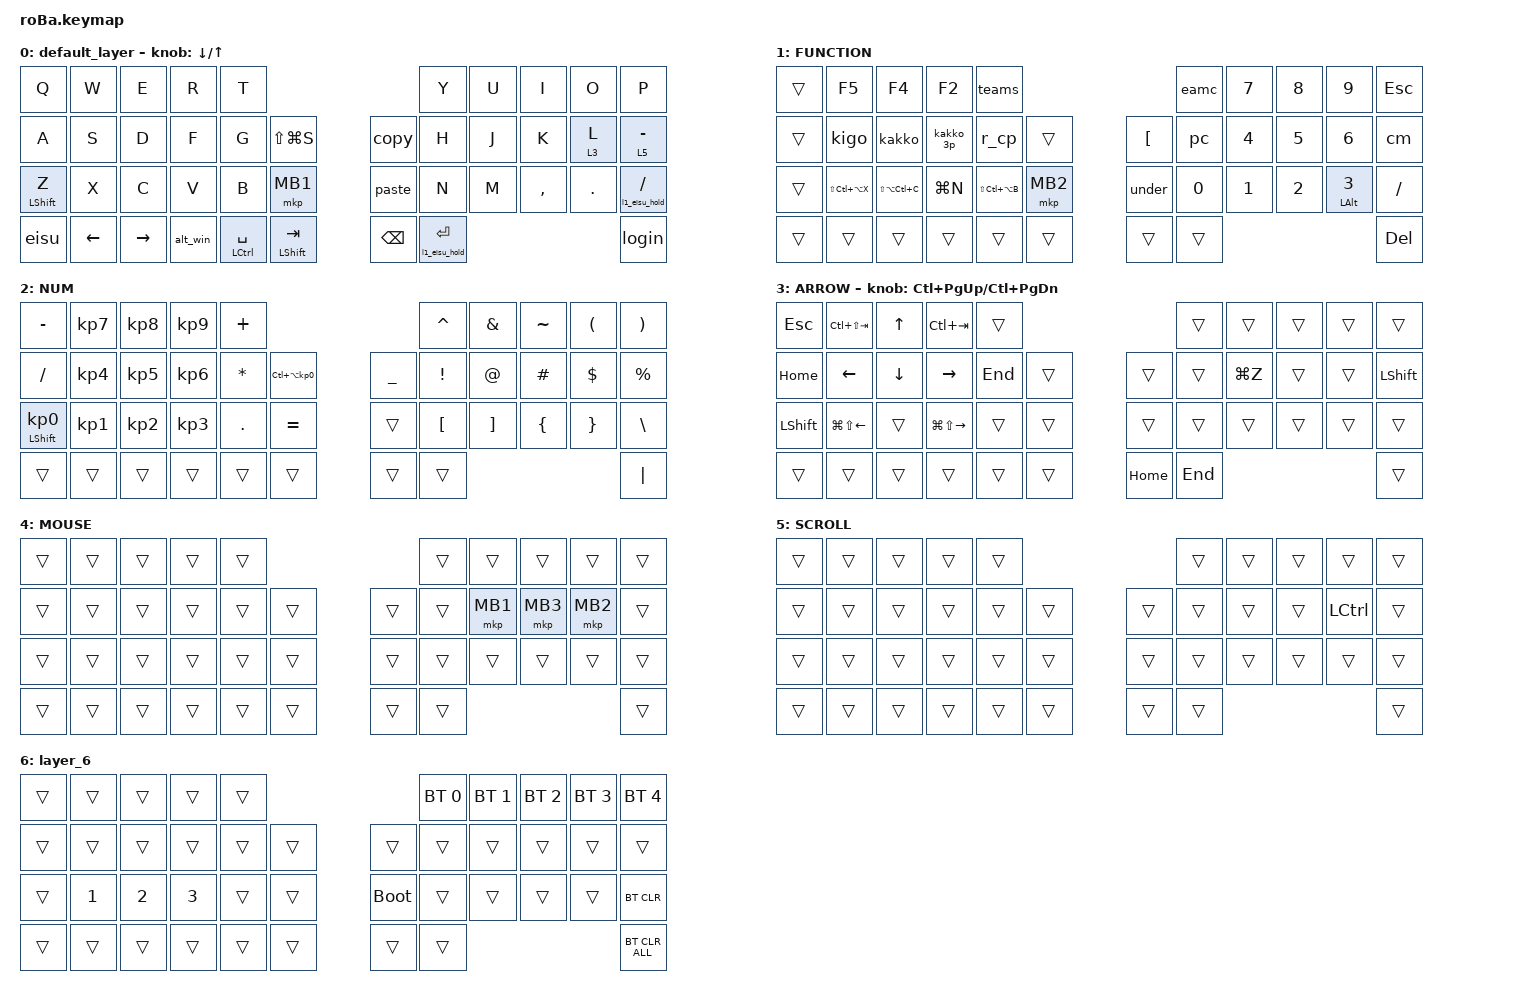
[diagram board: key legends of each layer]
#include <behaviors.dtsi>
#include <dt-bindings/zmk/bt.h>
#include <dt-bindings/zmk/keys.h>
#include <dt-bindings/zmk/pointing.h>

&mt {
    flavor = "balanced";
    quick-tap-ms = <0>;
};

&trackball {
    //automouse-layer = <4>;

    scroll-layers = <5>;

    arrows {
        layers = <3>;
        bindings =
            <&kp RIGHT_ARROW>,
            <&kp LEFT_ARROW>,
            <&kp UP_ARROW>,
            <&kp DOWN_ARROW>;

        tick = <8>;
        wait-ms = <5>;
        tap-ms = <5>;
    };

    appswc {
        layers = <1>;
        bindings = <&kp TAB>, <&kp LS(TAB)>, <&kp UP_ARROW>, <&kp DOWN_ARROW>;

        tick = <8>;
        wait-ms = <15>;
        tap-ms = <5>;
    };
};

/ {
    combos {
        compatible = "zmk,combos";

        tab {
            bindings = <&kp TAB>;
            key-positions = <11 12>;
        };

        shift_tab {
            bindings = <&kp LS(TAB)>;
            key-positions = <12 13>;
        };

        muhennkann {
            bindings = <&to_layer_0 INT_MUHENKAN>;
            key-positions = <11 10>;
        };

        double_quotation {
            bindings = <&kp DOUBLE_QUOTES>;
            key-positions = <20 21>;
        };

        eq {
            bindings = <&kp EQUAL>;
            key-positions = <24 25>;
        };
    };

    macros {
        to_layer_0: to_layer_0 {
            compatible = "zmk,behavior-macro-one-param";
            #binding-cells = <1>;
            bindings = <&to 0 &macro_param_1to1 &kp MACRO_PLACEHOLDER>;
            label = "TO_LAYER_0";
        };

        login: login {
            compatible = "zmk,behavior-macro";
            #binding-cells = <0>;
            bindings =
                <&macro_wait_time 2000>,
                <&kp LA(LC(DELETE))>,
                <&macro_wait_time 0>,
                <&kp N3 &kp N0 &kp N8 &kp N2 &kp LBKT &kp M &kp T &kp H &kp S &kp M &kp S &kp H &kp R &kp ENTER>;

            label = "LOGIN";
        };

        l1_eisu_hold: holdxeisuxl1 {
            compatible = "zmk,behavior-macro";
            #binding-cells = <0>;
            bindings =
                <&kp INT_MUHENKAN &to 1>,
                <&macro_pause_for_release>,
                <&to 0 &kp INT_HENKAN>;

            label = "HOLDXEISUXL1";
        };

        eisu_hold: eisu {
            compatible = "zmk,behavior-macro";
            #binding-cells = <0>;
            bindings =
                <&kp INT_MUHENKAN>,
                <&macro_pause_for_release>,
                <&kp INT_HENKAN>;

            label = "EISU";
        };

        l1_eisu_hold_alt: l1_eisu_hold_alt {
            compatible = "zmk,behavior-macro";
            #binding-cells = <0>;
            bindings =
                <&kp INT_MUHENKAN &to 1>,
                <&macro_press>,
                <&kp LEFT_ALT>,
                <&macro_pause_for_release>,
                <&macro_release>,
                <&kp LEFT_ALT>,
                <&macro_tap>,
                <&to 0 &kp INT_HENKAN>;

            label = "L1_EISU_HOLD_ALT";
        };

        kigo: kigo {
            compatible = "zmk,behavior-macro";
            #binding-cells = <0>;
            bindings = <&kp INT_HENKAN &kp N &kp SPACE>;
            label = "KIGO";
        };

        kakko: kakko {
            compatible = "zmk,behavior-macro";
            #binding-cells = <0>;
            bindings = <&kp INT_HENKAN &kp P &kp E &kp SPACE>;
            label = "KAKKO";
        };

        kakko_maru: kakko_maru {
            compatible = "zmk,behavior-macro";
            #binding-cells = <0>;
            bindings = <&kp INT_HENKAN &kp ASTRK &kp LEFT_PARENTHESIS &kp RET &kp LEFT>;
            label = "KAKKO_MARU";
        };

        kakko_kagi: kakko_kagi {
            compatible = "zmk,behavior-macro";
            #binding-cells = <0>;
            bindings = <&kp INT_HENKAN &kp K &kp SPACE &kp RET &kp LEFT>;
            label = "KAKKO_KAGI";
        };

        kakko_kaku: kakko_kaku {
            compatible = "zmk,behavior-macro";
            #binding-cells = <0>;
            bindings = <&kp INT_HENKAN &kp L &kp SPACE &kp RET &kp LEFT>;
            label = "KAKKO_KAKU";
        };

        r_cp: r_copilt {
            compatible = "zmk,behavior-macro";
            #binding-cells = <0>;
            bindings = <&kp LS(R) &kp LA(SLASH)>;
            label = "R_COPILT";
        };

        under: under {
            compatible = "zmk,behavior-macro";
            #binding-cells = <0>;
            bindings = <&kp INT_HENKAN &kp J &kp SPACE &kp ENTER>;
            label = "UNDER";
        };

        teams: teams {
            compatible = "zmk,behavior-macro";
            #binding-cells = <0>;
            bindings = <&kp LS(LA(LC(T))) &kp LC(LA(U))>;
            label = "TEAMS";
        };

        box_link: box_link {
            compatible = "zmk,behavior-macro";
            #binding-cells = <0>;
            bindings = <&kp LC(LS(LA(L)))>;
            label = "BOX_LINK";
        };
    };

    behaviors {
        lt_to_layer_0: lt_to_layer_0 {
            compatible = "zmk,behavior-hold-tap";
            label = "LAYER_TAP_TO_0";
            bindings = <&mo>, <&to_layer_0>;

            #binding-cells = <2>;
            tapping-term-ms = <200>;
        };

        kp_l1: kp_l1 {
            compatible = "zmk,behavior-hold-tap";
            label = "KP_L1";
            bindings = <&l1_eisu_hold>, <&kp>;

            #binding-cells = <2>;
            tapping-term-ms = <120>;
        };

        copy: copy {
            compatible = "zmk,behavior-tap-dance";
            label = "COPY";
            #binding-cells = <0>;
            bindings = <&kp LC(C)>, <&kp LS(LC(C))>, <&kp LC(X)>;

            tapping-term-ms = <400>;
        };

        eamc: eamc {
            compatible = "zmk,behavior-tap-dance";
            label = "EAMC";
            #binding-cells = <0>;
            bindings =
                <&kp UNDERSCORE>,
                <&kp COLON>,
                <&kp DOUBLE_QUOTES>,
                <&kp EQUAL>;

            tapping-term-ms = <400>;
        };

        pc: pc {
            compatible = "zmk,behavior-tap-dance";
            label = "PC";
            #binding-cells = <0>;
            bindings = <&kp PERIOD>, <&kp COMMA>;
        };

        alt_win: alt_win {
            compatible = "zmk,behavior-tap-dance";
            label = "ALT_WIN";
            #binding-cells = <0>;
            bindings = <&kp LEFT_ALT>, <&kp LEFT_WIN>;

            tapping-term-ms = <400>;
        };

        kakko_3p: kakko_3p {
            compatible = "zmk,behavior-tap-dance";
            label = "KAKKO_3P";
            #binding-cells = <0>;
            bindings = <&kakko_maru>, <&kakko_kagi>, <&kakko_kaku>;

            tapping-term-ms = <250>;
        };

        eisu: eisu {
            compatible = "zmk,behavior-tap-dance";
            label = "EISU";
            #binding-cells = <0>;
            bindings = <&eisu_hold>, <&kp INT_MUHENKAN>;

            tapping-term-ms = <400>;
        };

        cm: cm {
            compatible = "zmk,behavior-tap-dance";
            label = "CM";
            #binding-cells = <0>;
            bindings = <&kp SINGLE_QUOTE>, <&kp MINUS>;

            tapping-term-ms = <400>;
        };

        paste: paste {
            compatible = "zmk,behavior-tap-dance";
            label = "PASTE";
            #binding-cells = <0>;
            bindings = <&mt LG(V) LC(V)>, <&kp LC(LS(V))>;
        };
    };

    keymap {
        compatible = "zmk,keymap";

        default_layer {
            bindings = <
&kp Q             &kp W     &kp E      &kp R     &kp T                                                          &kp Y           &kp U  &kp I      &kp O       &kp P
&kp A             &kp S     &kp D      &kp F     &kp G                   &kp LS(LG(S))           &copy          &kp H           &kp J  &kp K      &lt 3 L     &lt 5 MINUS
&mt LEFT_SHIFT Z  &kp X     &kp C      &kp V     &kp B                   &mkp MB1                &paste         &kp N           &kp M  &kp COMMA  &kp PERIOD  &kp_l1 0 SLASH
&eisu             &kp LEFT  &kp RIGHT  &alt_win  &mt LEFT_CONTROL SPACE  &mt LEFT_SHIFT TAB      &kp BACKSPACE  &kp_l1 0 ENTER                                &login
            >;

            sensor-bindings = <&inc_dec_kp DOWN_ARROW UP_ARROW>;
        };

        FUNCTION {
            bindings = <
&trans  &kp F5             &kp F4             &kp F2     &teams                                     &eamc   &kp N7  &kp N8  &kp N9           &kp ESCAPE
&trans  &kigo              &kakko             &kakko_3p  &r_cp              &trans        &kp LBKT  &pc     &kp N4  &kp N5  &kp N6           &cm
&trans  &kp LS(LC(LA(X)))  &kp LS(LA(LC(C)))  &kp LG(N)  &kp LS(LC(LA(B)))  &mkp MB2      &under    &kp N0  &kp N1  &kp N2  &mt LEFT_ALT N3  &kp FSLH
&trans  &trans             &trans             &trans     &trans             &trans        &trans    &trans                                   &kp DEL
            >;
        };

        NUM {
            bindings = <
&kp MINUS                   &kp KP_NUMBER_7  &kp KP_NUMBER_8  &kp KP_NUMBER_9  &kp PLUS                                                   &kp CARET         &kp AMPERSAND      &kp TILDE       &kp LEFT_PARENTHESIS  &kp RIGHT_PARENTHESIS
&kp SLASH                   &kp KP_NUMBER_4  &kp KP_NUMBER_5  &kp KP_NUMBER_6  &kp ASTERISK  &kp LC(LA(KP_NUMBER_0))      &kp UNDERSCORE  &kp EXCLAMATION   &kp AT_SIGN        &kp HASH        &kp DOLLAR            &kp PERCENT
&mt LEFT_SHIFT KP_NUMBER_0  &kp KP_NUMBER_1  &kp KP_NUMBER_2  &kp KP_NUMBER_3  &kp PERIOD    &kp EQUAL                    &trans          &kp LEFT_BRACKET  &kp RIGHT_BRACKET  &kp LEFT_BRACE  &kp RIGHT_BRACE       &kp BACKSLASH
&trans                      &trans           &trans           &trans           &trans        &trans                       &trans          &trans                                                                     &kp PIPE
            >;
        };

        ARROW {
            bindings = <
&kp ESCAPE      &kp LC(LS(TAB))         &kp UP_ARROW    &kp LC(TAB)              &trans                         &trans   &trans     &trans  &trans  &trans
&kp HOME        &kp LEFT_ARROW          &kp DOWN_ARROW  &kp RIGHT_ARROW          &kp END  &trans      &trans    &trans   &kp LG(Z)  &trans  &trans  &kp LEFT_SHIFT
&kp LEFT_SHIFT  &kp LG(LS(LEFT_ARROW))  &trans          &kp LG(LS(RIGHT_ARROW))  &trans   &trans      &trans    &trans   &trans     &trans  &trans  &trans
&trans          &trans                  &trans          &trans                   &trans   &trans      &kp HOME  &kp END                             &trans
            >;

            sensor-bindings = <&inc_dec_kp LC(PAGE_UP) LC(PAGE_DOWN)>;
        };

        MOUSE {
            bindings = <
&trans  &trans  &trans  &trans  &trans                      &trans  &trans    &trans    &trans    &trans
&trans  &trans  &trans  &trans  &trans  &trans      &trans  &trans  &mkp MB1  &mkp MB3  &mkp MB2  &trans
&trans  &trans  &trans  &trans  &trans  &trans      &trans  &trans  &trans    &trans    &trans    &trans
&trans  &trans  &trans  &trans  &trans  &trans      &trans  &trans                                &trans
            >;
        };

        SCROLL {
            bindings = <
&trans  &trans  &trans  &trans  &trans                      &trans  &trans  &trans  &trans            &trans
&trans  &trans  &trans  &trans  &trans  &trans      &trans  &trans  &trans  &trans  &kp LEFT_CONTROL  &trans
&trans  &trans  &trans  &trans  &trans  &trans      &trans  &trans  &trans  &trans  &trans            &trans
&trans  &trans  &trans  &trans  &trans  &trans      &trans  &trans                                    &trans
            >;
        };

        layer_6 {
            bindings = <
&trans  &trans        &trans        &trans        &trans                           &bt BT_SEL 0  &bt BT_SEL 1  &bt BT_SEL 2  &bt BT_SEL 3  &bt BT_SEL 4
&trans  &trans        &trans        &trans        &trans  &trans      &trans       &trans        &trans        &trans        &trans        &trans
&trans  &kp NUMBER_1  &kp NUMBER_2  &kp NUMBER_3  &trans  &trans      &bootloader  &trans        &trans        &trans        &trans        &bt BT_CLR
&trans  &trans        &trans        &trans        &trans  &trans      &trans       &trans                                                  &bt BT_CLR_ALL
            >;
        };
    };
};
